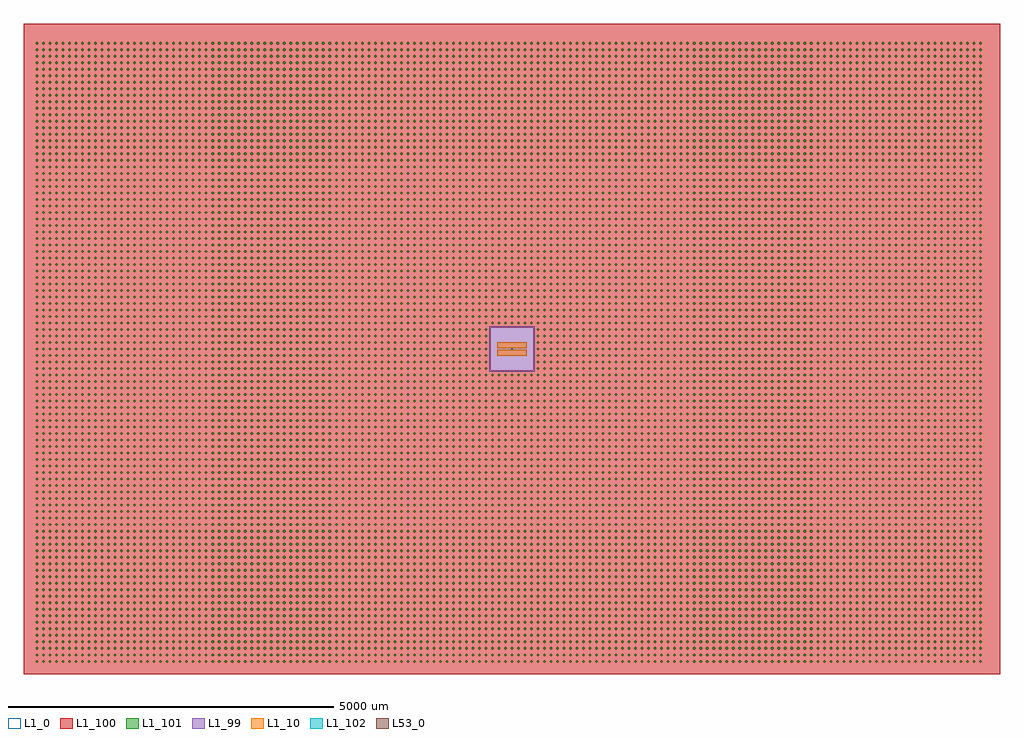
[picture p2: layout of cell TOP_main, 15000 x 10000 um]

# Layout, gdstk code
from math import pi, radians
import gdstk
lib = gdstk.Library(unit=1e-6, precision=1e-09)
def R(c, l, rs):  # rectangles x0, y0, x1, y1
    for r in rs: c.add(gdstk.rectangle(r[:2], r[2:], *l))
def A(c, l, x, y, w, h, nx, ny, dx, dy):  # array of equal rectangles
    R(c, l, [(x+i*dx, y+j*dy, x+i*dx+w, y+j*dy+h) for i in range(nx) for j in range(ny)])
def P(c, l, *ps):  # polygons
    for p in ps: c.add(gdstk.Polygon(p, *l))
L1_0 = (1, 0)
L1_10 = (1, 10)
L1_99 = (1, 99)
L1_100 = (1, 100)
L1_101 = (1, 101)
L1_102 = (1, 102)
L53_0 = (53, 0)

ground_main_1 = lib.new_cell('ground_main_1')
P(ground_main_1, L1_0, [(7500,5000),(-7500,5000),(-7500,-325),(-325,-325),(-325,325),(325,325),(325,-325),(-325,-325),(-7500,-325),(-7500,-5000),(7500,-5000)])

my_other_junction = lib.new_cell('my_other_junction')
R(my_other_junction, L53_0, [(-15,-1.5,15,1.5)])

top_main_1_one_hole = lib.new_cell('TOP_main_1_one_hole')
P(top_main_1_one_hole, L1_102, [(12.5,-12.5),(12.5,12.5),(-12.5,12.5),(-12.5,-12.5),(12.5,-12.5)])

top_main_1_cheese_diff = lib.new_cell('TOP_main_1_Cheese_diff')
A(top_main_1_cheese_diff, L1_101, -7312.5, -4812.5, 25, 25, 146, 45, 100, 100)
A(top_main_1_cheese_diff, L1_101, -7312.5, -312.5, 25, 25, 70, 7, 100, 100)
A(top_main_1_cheese_diff, L1_101, 387.5, -312.5, 25, 25, 69, 7, 100, 100)
A(top_main_1_cheese_diff, L1_101, -7312.5, 387.5, 25, 25, 146, 44, 100, 100)

top_main_1_cheese_100 = lib.new_cell('TOP_main_1_Cheese_100')
A(top_main_1_cheese_100, L1_100, -7312.5, -5000, 25, 187.5, 145, 1, 100, 0)
A(top_main_1_cheese_100, L1_100, -7287.5, -5000, 75, 10000, 69, 1, 100, 0)
A(top_main_1_cheese_100, L1_100, -287.5, -5000, 75, 4675, 6, 2, 100, 5325)
A(top_main_1_cheese_100, L1_100, 412.5, -5000, 75, 10000, 68, 1, 100, 0)
A(top_main_1_cheese_100, L1_100, -7312.5, -4787.5, 25, 75, 145, 44, 100, 100)
A(top_main_1_cheese_100, L1_100, -7312.5, -387.5, 25, 75, 70, 8, 100, 100)
A(top_main_1_cheese_100, L1_100, -312.5, -387.5, 25, 62.5, 7, 2, 100, 712.5)
A(top_main_1_cheese_100, L1_100, 387.5, -387.5, 25, 75, 68, 8, 100, 100)
A(top_main_1_cheese_100, L1_100, -7312.5, 412.5, 25, 75, 145, 43, 100, 100)
A(top_main_1_cheese_100, L1_100, -7312.5, 4712.5, 25, 287.5, 145, 1, 100, 0)
R(top_main_1_cheese_100, L1_100, [(-7500,-5000,-7312.5,5000)])
P(top_main_1_cheese_100, L1_100, [(-312.5,325),(-312.5,5000),(-387.5,5000),(-387.5,-5000),(-312.5,-5000),(-312.5,-325),(-325,-325),(-325,325)],
  [(325,325),(325,-325),(312.5,-325),(312.5,-5000),(387.5,-5000),(387.5,5000),(312.5,5000),(312.5,325)],
  [(7500,-12.5),(7187.5,-12.5),(7187.5,-87.5),(7212.5,-87.5),(7212.5,-112.5),(7187.5,-112.5),(7187.5,-187.5),(7212.5,-187.5),(7212.5,-212.5),(7187.5,-212.5),(7187.5,-287.5),(7212.5,-287.5),(7212.5,-312.5),(7187.5,-312.5),(7187.5,-387.5),(7212.5,-387.5),(7212.5,-412.5),(7187.5,-412.5),(7187.5,-487.5),(7212.5,-487.5),(7212.5,-512.5),(7187.5,-512.5),(7187.5,-587.5),(7212.5,-587.5),(7212.5,-612.5),(7187.5,-612.5),(7187.5,-687.5),(7212.5,-687.5),(7212.5,-712.5),(7187.5,-712.5),(7187.5,-787.5),(7212.5,-787.5),(7212.5,-812.5),(7187.5,-812.5),(7187.5,-887.5),(7212.5,-887.5),(7212.5,-912.5),(7187.5,-912.5),(7187.5,-987.5),(7212.5,-987.5),(7212.5,-1012.5),(7187.5,-1012.5),(7187.5,-1087.5),(7212.5,-1087.5),(7212.5,-1112.5),(7187.5,-1112.5),(7187.5,-1187.5),(7212.5,-1187.5),(7212.5,-1212.5),(7187.5,-1212.5),(7187.5,-1287.5),(7212.5,-1287.5),(7212.5,-1312.5),(7187.5,-1312.5),(7187.5,-1387.5),(7212.5,-1387.5),(7212.5,-1412.5),(7187.5,-1412.5),(7187.5,-1487.5),(7212.5,-1487.5),(7212.5,-1512.5),(7187.5,-1512.5),(7187.5,-1587.5),(7212.5,-1587.5),(7212.5,-1612.5),(7187.5,-1612.5),(7187.5,-1687.5),(7212.5,-1687.5),(7212.5,-1712.5),(7187.5,-1712.5),(7187.5,-1787.5),(7212.5,-1787.5),(7212.5,-1812.5),(7187.5,-1812.5),(7187.5,-1887.5),(7212.5,-1887.5),(7212.5,-1912.5),(7187.5,-1912.5),(7187.5,-1987.5),(7212.5,-1987.5),(7212.5,-2012.5),(7187.5,-2012.5),(7187.5,-2087.5),(7212.5,-2087.5),(7212.5,-2112.5),(7187.5,-2112.5),(7187.5,-2187.5),(7212.5,-2187.5),(7212.5,-2212.5),(7187.5,-2212.5),(7187.5,-2287.5),(7212.5,-2287.5),(7212.5,-2312.5),(7187.5,-2312.5),(7187.5,-2387.5),(7212.5,-2387.5),(7212.5,-2412.5),(7187.5,-2412.5),(7187.5,-2487.5),(7212.5,-2487.5),(7212.5,-2512.5),(7187.5,-2512.5),(7187.5,-2587.5),(7212.5,-2587.5),(7212.5,-2612.5),(7187.5,-2612.5),(7187.5,-2687.5),(7212.5,-2687.5),(7212.5,-2712.5),(7187.5,-2712.5),(7187.5,-2787.5),(7212.5,-2787.5),(7212.5,-2812.5),(7187.5,-2812.5),(7187.5,-2887.5),(7212.5,-2887.5),(7212.5,-2912.5),(7187.5,-2912.5),(7187.5,-2987.5),(7212.5,-2987.5),(7212.5,-3012.5),(7187.5,-3012.5),(7187.5,-3087.5),(7212.5,-3087.5),(7212.5,-3112.5),(7187.5,-3112.5),(7187.5,-3187.5),(7212.5,-3187.5),(7212.5,-3212.5),(7187.5,-3212.5),(7187.5,-3287.5),(7212.5,-3287.5),(7212.5,-3312.5),(7187.5,-3312.5),(7187.5,-3387.5),(7212.5,-3387.5),(7212.5,-3412.5),(7187.5,-3412.5),(7187.5,-3487.5),(7212.5,-3487.5),(7212.5,-3512.5),(7187.5,-3512.5),(7187.5,-3587.5),(7212.5,-3587.5),(7212.5,-3612.5),(7187.5,-3612.5),(7187.5,-3687.5),(7212.5,-3687.5),(7212.5,-3712.5),(7187.5,-3712.5),(7187.5,-3787.5),(7212.5,-3787.5),(7212.5,-3812.5),(7187.5,-3812.5),(7187.5,-3887.5),(7212.5,-3887.5),(7212.5,-3912.5),(7187.5,-3912.5),(7187.5,-3987.5),(7212.5,-3987.5),(7212.5,-4012.5),(7187.5,-4012.5),(7187.5,-4087.5),(7212.5,-4087.5),(7212.5,-4112.5),(7187.5,-4112.5),(7187.5,-4187.5),(7212.5,-4187.5),(7212.5,-4212.5),(7187.5,-4212.5),(7187.5,-4287.5),(7212.5,-4287.5),(7212.5,-4312.5),(7187.5,-4312.5),(7187.5,-4387.5),(7212.5,-4387.5),(7212.5,-4412.5),(7187.5,-4412.5),(7187.5,-4487.5),(7212.5,-4487.5),(7212.5,-4512.5),(7187.5,-4512.5),(7187.5,-4587.5),(7212.5,-4587.5),(7212.5,-4612.5),(7187.5,-4612.5),(7187.5,-4687.5),(7212.5,-4687.5),(7212.5,-4712.5),(7187.5,-4712.5),(7187.5,-4787.5),(7212.5,-4787.5),(7212.5,-4812.5),(7187.5,-4812.5),(7187.5,-5000),(7500,-5000)],
  [(7500,5000),(7187.5,5000),(7187.5,4712.5),(7212.5,4712.5),(7212.5,4687.5),(7187.5,4687.5),(7187.5,4612.5),(7212.5,4612.5),(7212.5,4587.5),(7187.5,4587.5),(7187.5,4512.5),(7212.5,4512.5),(7212.5,4487.5),(7187.5,4487.5),(7187.5,4412.5),(7212.5,4412.5),(7212.5,4387.5),(7187.5,4387.5),(7187.5,4312.5),(7212.5,4312.5),(7212.5,4287.5),(7187.5,4287.5),(7187.5,4212.5),(7212.5,4212.5),(7212.5,4187.5),(7187.5,4187.5),(7187.5,4112.5),(7212.5,4112.5),(7212.5,4087.5),(7187.5,4087.5),(7187.5,4012.5),(7212.5,4012.5),(7212.5,3987.5),(7187.5,3987.5),(7187.5,3912.5),(7212.5,3912.5),(7212.5,3887.5),(7187.5,3887.5),(7187.5,3812.5),(7212.5,3812.5),(7212.5,3787.5),(7187.5,3787.5),(7187.5,3712.5),(7212.5,3712.5),(7212.5,3687.5),(7187.5,3687.5),(7187.5,3612.5),(7212.5,3612.5),(7212.5,3587.5),(7187.5,3587.5),(7187.5,3512.5),(7212.5,3512.5),(7212.5,3487.5),(7187.5,3487.5),(7187.5,3412.5),(7212.5,3412.5),(7212.5,3387.5),(7187.5,3387.5),(7187.5,3312.5),(7212.5,3312.5),(7212.5,3287.5),(7187.5,3287.5),(7187.5,3212.5),(7212.5,3212.5),(7212.5,3187.5),(7187.5,3187.5),(7187.5,3112.5),(7212.5,3112.5),(7212.5,3087.5),(7187.5,3087.5),(7187.5,3012.5),(7212.5,3012.5),(7212.5,2987.5),(7187.5,2987.5),(7187.5,2912.5),(7212.5,2912.5),(7212.5,2887.5),(7187.5,2887.5),(7187.5,2812.5),(7212.5,2812.5),(7212.5,2787.5),(7187.5,2787.5),(7187.5,2712.5),(7212.5,2712.5),(7212.5,2687.5),(7187.5,2687.5),(7187.5,2612.5),(7212.5,2612.5),(7212.5,2587.5),(7187.5,2587.5),(7187.5,2512.5),(7212.5,2512.5),(7212.5,2487.5),(7187.5,2487.5),(7187.5,2412.5),(7212.5,2412.5),(7212.5,2387.5),(7187.5,2387.5),(7187.5,2312.5),(7212.5,2312.5),(7212.5,2287.5),(7187.5,2287.5),(7187.5,2212.5),(7212.5,2212.5),(7212.5,2187.5),(7187.5,2187.5),(7187.5,2112.5),(7212.5,2112.5),(7212.5,2087.5),(7187.5,2087.5),(7187.5,2012.5),(7212.5,2012.5),(7212.5,1987.5),(7187.5,1987.5),(7187.5,1912.5),(7212.5,1912.5),(7212.5,1887.5),(7187.5,1887.5),(7187.5,1812.5),(7212.5,1812.5),(7212.5,1787.5),(7187.5,1787.5),(7187.5,1712.5),(7212.5,1712.5),(7212.5,1687.5),(7187.5,1687.5),(7187.5,1612.5),(7212.5,1612.5),(7212.5,1587.5),(7187.5,1587.5),(7187.5,1512.5),(7212.5,1512.5),(7212.5,1487.5),(7187.5,1487.5),(7187.5,1412.5),(7212.5,1412.5),(7212.5,1387.5),(7187.5,1387.5),(7187.5,1312.5),(7212.5,1312.5),(7212.5,1287.5),(7187.5,1287.5),(7187.5,1212.5),(7212.5,1212.5),(7212.5,1187.5),(7187.5,1187.5),(7187.5,1112.5),(7212.5,1112.5),(7212.5,1087.5),(7187.5,1087.5),(7187.5,1012.5),(7212.5,1012.5),(7212.5,987.5),(7187.5,987.5),(7187.5,912.5),(7212.5,912.5),(7212.5,887.5),(7187.5,887.5),(7187.5,812.5),(7212.5,812.5),(7212.5,787.5),(7187.5,787.5),(7187.5,712.5),(7212.5,712.5),(7212.5,687.5),(7187.5,687.5),(7187.5,612.5),(7212.5,612.5),(7212.5,587.5),(7187.5,587.5),(7187.5,512.5),(7212.5,512.5),(7212.5,487.5),(7187.5,487.5),(7187.5,412.5),(7212.5,412.5),(7212.5,387.5),(7187.5,387.5),(7187.5,312.5),(7212.5,312.5),(7212.5,287.5),(7187.5,287.5),(7187.5,212.5),(7212.5,212.5),(7212.5,187.5),(7187.5,187.5),(7187.5,112.5),(7212.5,112.5),(7212.5,87.5),(7187.5,87.5),(7187.5,12.5),(7212.5,12.5),(7212.5,-12.5),(7500,-12.5)])

top_main_1 = lib.new_cell('TOP_main_1')
P(top_main_1, L1_10, [(-227.5,15),(227.5,15),(227.5,105),(-227.5,105),(-227.5,15)],
  [(-227.5,-105),(227.5,-105),(227.5,-15),(-227.5,-15),(-227.5,-105)])
top_main_1.add(gdstk.Reference(ground_main_1, (0,0)))
top_main_1.add(gdstk.Reference(my_other_junction, (0,0), rotation=pi/2))
top_main_1.add(gdstk.Reference(top_main_1_one_hole, (0,0)))
top_main_1.add(gdstk.Reference(top_main_1_cheese_diff, (0,0)))
top_main_1.add(gdstk.Reference(top_main_1_cheese_100, (0,0)))

top_main_1_nocheese_99 = lib.new_cell('TOP_main_1_NoCheese_99')
P(top_main_1_nocheese_99, L1_99, [(-350,-350),(-350,350),(350,350),(350,-350),(-350,-350)])

top_main = lib.new_cell('TOP_main')
top_main.add(gdstk.Reference(top_main_1, (0,0)))
top_main.add(gdstk.Reference(top_main_1_nocheese_99, (0,0)))

lib.write_gds('TOP_main.gds')
